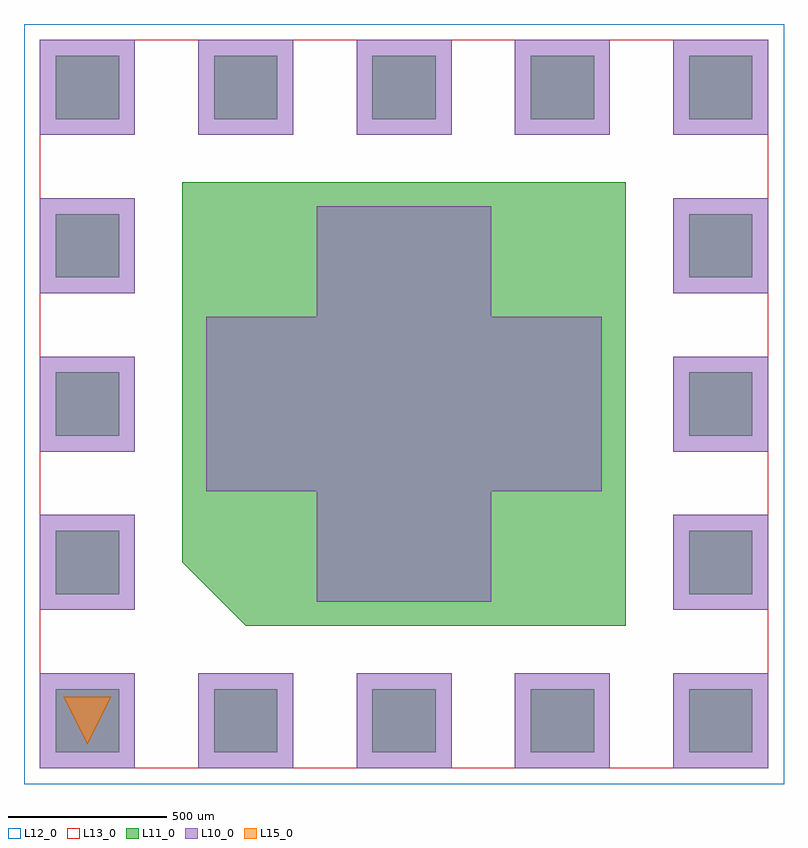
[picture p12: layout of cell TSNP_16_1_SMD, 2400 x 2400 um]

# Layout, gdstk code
import gdstk
lib = gdstk.Library(unit=1e-6, precision=1e-09)
def R(c, l, rs):  # rectangles x0, y0, x1, y1
    for r in rs: c.add(gdstk.rectangle(r[:2], r[2:], *l))
def A(c, l, x, y, w, h, nx, ny, dx, dy):  # array of equal rectangles
    R(c, l, [(x+i*dx, y+j*dy, x+i*dx+w, y+j*dy+h) for i in range(nx) for j in range(ny)])
def P(c, l, *ps):  # polygons
    for p in ps: c.add(gdstk.Polygon(p, *l))
L10_0 = (10, 0)
L11_0 = (11, 0)
L12_0 = (12, 0)
L13_0 = (13, 0)
L15_0 = (15, 0)

tsnp_16_1_smd = lib.new_cell('TSNP_16_1_SMD')
A(tsnp_16_1_smd, L10_0, -1150, -1150, 300, 300, 5, 2, 500, 2000)
A(tsnp_16_1_smd, L10_0, -1150, -650, 300, 300, 1, 3, 0, 500)
A(tsnp_16_1_smd, L10_0, 850, -650, 300, 300, 1, 3, 0, 500)
P(tsnp_16_1_smd, L10_0, [(-275,-625),(275,-625),(275,-275),(625,-275),(625,275),(275,275),(275,625),(-275,625),(-275,275),(-625,275),(-625,-275),(-275,-275)])
A(tsnp_16_1_smd, L11_0, -1100, -1100, 200, 200, 5, 2, 500, 2000)
A(tsnp_16_1_smd, L11_0, -1100, -600, 200, 200, 1, 3, 0, 500)
A(tsnp_16_1_smd, L11_0, 900, -600, 200, 200, 1, 3, 0, 500)
P(tsnp_16_1_smd, L11_0, [(700,700),(700,-700),(-500,-700),(-700,-500),(-700,700)])
R(tsnp_16_1_smd, L12_0, [(-1200,-1200,1200,1200)])
R(tsnp_16_1_smd, L13_0, [(-1150,-1150,1150,1150)])
P(tsnp_16_1_smd, L15_0, [(-1000,-1075),(-1075,-925),(-925,-925)])

lib.write_gds('TSNP_16_1_SMD.gds')
